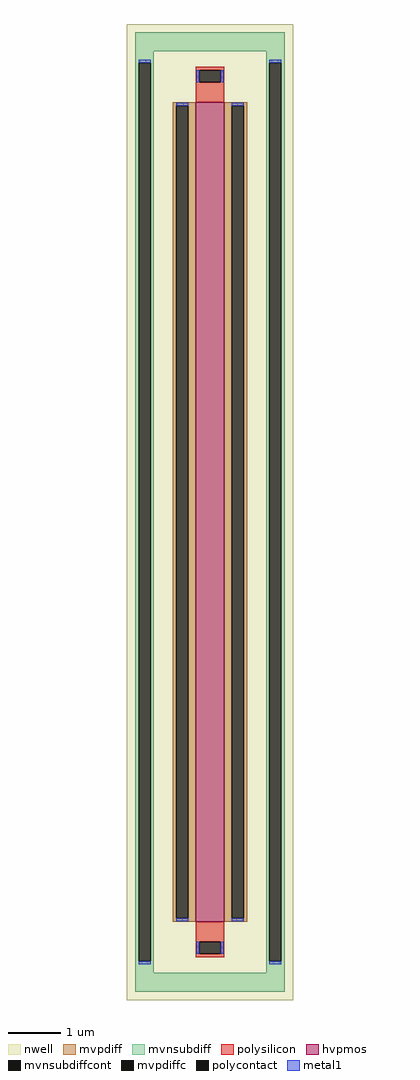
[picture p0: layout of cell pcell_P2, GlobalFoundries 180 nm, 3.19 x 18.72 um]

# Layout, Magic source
magic
tech gf180mcuD
magscale 1 10
<< nwell >>
rect -319 -1872 319 1872
<< hvpmos >>
rect -55 -1572 55 1572
<< mvpdiff >>
rect -143 1559 -55 1572
rect -143 -1559 -130 1559
rect -84 -1559 -55 1559
rect -143 -1572 -55 -1559
rect 55 1559 143 1572
rect 55 -1559 84 1559
rect 130 -1559 143 1559
rect 55 -1572 143 -1559
<< mvpdiffc >>
rect -130 -1559 -84 1559
rect 84 -1559 130 1559
<< mvnsubdiff >>
rect -287 1768 287 1840
rect -287 1724 -215 1768
rect -287 -1724 -274 1724
rect -228 -1724 -215 1724
rect 215 1724 287 1768
rect -287 -1768 -215 -1724
rect 215 -1724 228 1724
rect 274 -1724 287 1724
rect 215 -1768 287 -1724
rect -287 -1840 287 -1768
<< mvnsubdiffcont >>
rect -274 -1724 -228 1724
rect 228 -1724 274 1724
<< polysilicon >>
rect -55 1695 55 1708
rect -55 1649 -42 1695
rect 42 1649 55 1695
rect -55 1572 55 1649
rect -55 -1649 55 -1572
rect -55 -1695 -42 -1649
rect 42 -1695 55 -1649
rect -55 -1708 55 -1695
<< polycontact >>
rect -42 1649 42 1695
rect -42 -1695 42 -1649
<< metal1 >>
rect -274 1724 -228 1735
rect 228 1724 274 1735
rect -53 1649 -42 1695
rect 42 1649 53 1695
rect -130 1559 -84 1570
rect -130 -1570 -84 -1559
rect 84 1559 130 1570
rect 84 -1570 130 -1559
rect -53 -1695 -42 -1649
rect 42 -1695 53 -1649
rect -274 -1735 -228 -1724
rect 228 -1735 274 -1724
<< properties >>
string FIXED_BBOX -2510 -18040 2510 18040
<< end >>
